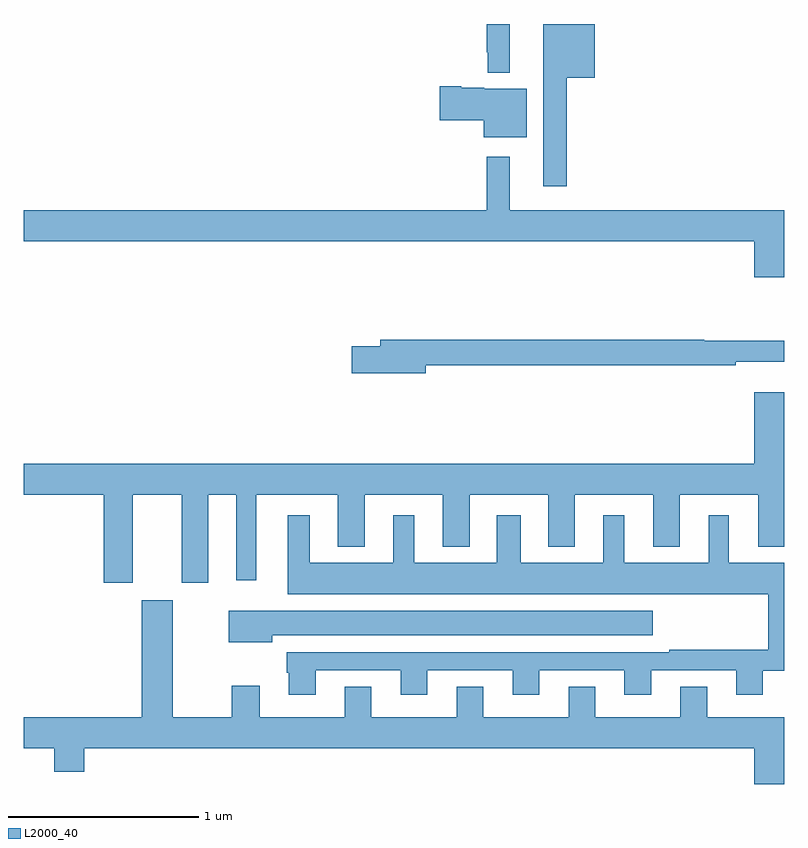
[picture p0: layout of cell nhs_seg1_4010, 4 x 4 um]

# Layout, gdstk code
import gdstk
lib = gdstk.Library(unit=1e-6, precision=1e-09)
def P(c, l, *ps):  # polygons
    for p in ps: c.add(gdstk.Polygon(p, *l))
L2000_40 = (2000, 40)

nhs_seg1_4010 = lib.new_cell('nhs_seg1_4010')
P(nhs_seg1_4010, L2000_40, [(331.855,561.917),(332.002,561.917),(332.002,562.199),(331.733,562.199),(331.733,561.345),(331.855,561.345)],
  [(331.555,562.199),(331.434,562.199),(331.434,562.051),(331.441,562.051),(331.441,561.944),(331.555,561.944)],
  [(331.645,561.859),(331.422,561.859),(331.422,561.865),(331.3,561.865),(331.3,561.872),(331.188,561.872),(331.188,561.694),(331.418,561.694),(331.418,561.605),(331.645,561.605)],
  [(333,561.22),(331.555,561.22),(331.555,561.502),(331.434,561.502),(331.434,561.22),(329,561.22),(329,561.056),(332.84,561.056),(332.84,560.868),(333,560.868)],
  [(331.114,560.404),(332.744,560.404),(332.744,560.423),(333,560.423),(333,560.533),(332.579,560.533),(332.579,560.54),(330.875,560.54),(330.875,560.504),(330.726,560.504),(330.726,560.362),(331.114,560.362)],
  [(329,559.724),(329.423,559.724),(329.423,559.263),(329.575,559.263),(329.575,559.724),(329.831,559.724),(329.831,559.263),(329.971,559.263),(329.971,559.724),(330.119,559.724),(330.119,559.275),(330.223,559.275),(330.223,559.724),(330.653,559.724),(330.653,559.451),(330.793,559.451),(330.793,559.724),(331.205,559.724),(331.205,559.451),(331.345,559.451),(331.345,559.724),(331.757,559.724),(331.757,559.451),(331.897,559.451),(331.897,559.724),(332.309,559.724),(332.309,559.451),(332.449,559.451),(332.449,559.724),(332.861,559.724),(332.861,559.451),(333,559.451),(333,560.263),(332.84,560.263),(332.84,559.888),(329,559.888)],
  [(330.535,558.801),(330.983,558.801),(330.983,558.672),(331.123,558.672),(331.123,558.801),(331.571,558.801),(331.571,558.672),(331.711,558.672),(331.711,558.801),(332.159,558.801),(332.159,558.672),(332.299,558.672),(332.299,558.801),(332.747,558.801),(332.747,558.672),(332.887,558.672),(332.887,558.8),(333,558.8),(333,559.366),(332.707,559.366),(332.707,559.618),(332.603,559.618),(332.603,559.366),(332.158,559.366),(332.158,559.618),(332.048,559.618),(332.048,559.366),(331.615,559.366),(331.615,559.618),(331.487,559.618),(331.487,559.366),(331.054,559.366),(331.054,559.618),(330.944,559.618),(330.944,559.366),(330.505,559.366),(330.505,559.618),(330.389,559.618),(330.389,559.202),(332.915,559.202),(332.915,558.91),(332.395,558.91),(332.395,558.897),(330.383,558.897),(330.383,558.789),(330.395,558.789),(330.395,558.672),(330.535,558.672)],
  [(333,558.556),(332.593,558.556),(332.593,558.716),(332.453,558.716),(332.453,558.556),(332.005,558.556),(332.005,558.716),(331.865,558.716),(331.865,558.556),(331.417,558.556),(331.417,558.716),(331.277,558.716),(331.277,558.556),(330.829,558.556),(330.829,558.716),(330.689,558.716),(330.689,558.556),(330.241,558.556),(330.241,558.721),(330.094,558.721),(330.094,558.556),(329.785,558.556),(329.785,559.171),(329.621,559.171),(329.621,558.556),(329,558.556),(329,558.392),(329.161,558.392),(329.161,558.268),(329.318,558.268),(329.318,558.392),(332.84,558.392),(332.84,558.204),(333,558.204)],
  [(330.307,558.986),(332.308,558.986),(332.308,559.114),(330.078,559.114),(330.078,558.95),(330.307,558.95)])

lib.write_gds('nhs_seg1_4010.gds')
